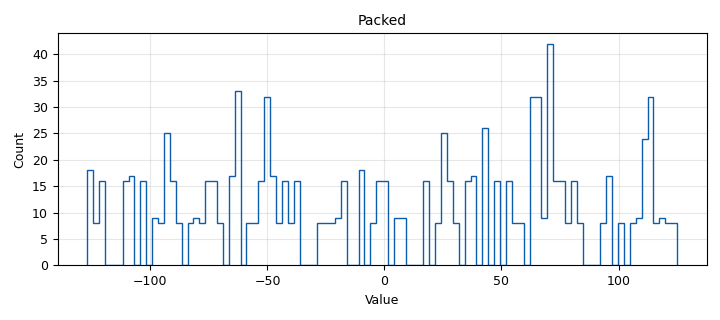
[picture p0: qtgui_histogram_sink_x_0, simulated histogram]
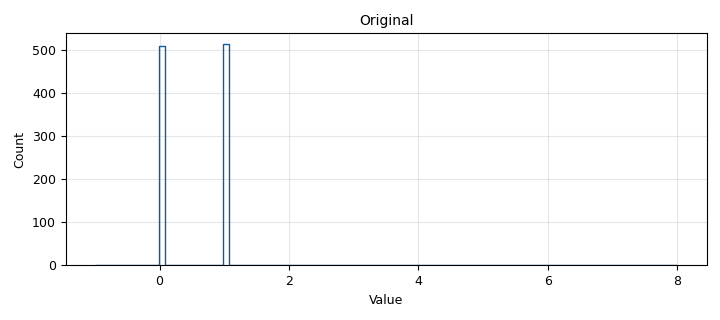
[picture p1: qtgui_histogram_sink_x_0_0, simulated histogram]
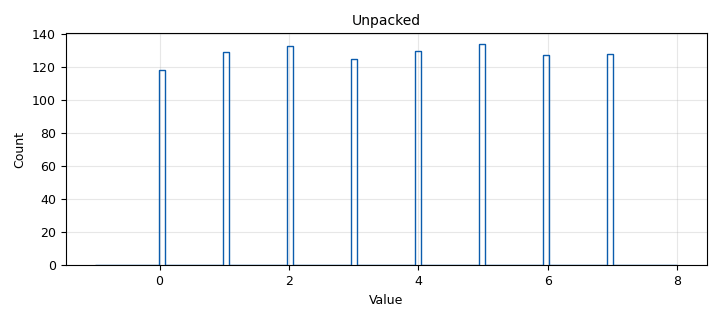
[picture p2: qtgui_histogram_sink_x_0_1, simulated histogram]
options:
  parameters:
    generate_options: qt_gui
    id: Packing
    output_language: python
    title: Not titled yet
  states: {}

blocks:
- name: samp_rate
  id: variable
  parameters:
    value: '32000'
  states: {}
- name: analog_random_source_x_0
  id: analog_random_source_x
  parameters:
    max: '2'
    min: '0'
    num_samps: '1000'
    repeat: 'True'
    type: byte
  states: {}
- name: blocks_char_to_float_0
  id: blocks_char_to_float
  parameters:
    scale: '1'
  states: {}
- name: blocks_char_to_float_0_0
  id: blocks_char_to_float
  parameters:
    scale: '1'
  states: {}
- name: blocks_char_to_float_0_1
  id: blocks_char_to_float
  parameters:
    scale: '1'
  states: {}
- name: blocks_pack_k_bits_bb_0
  id: blocks_pack_k_bits_bb
  parameters:
    k: '8'
  states: {}
- name: blocks_packed_to_unpacked_xx_0
  id: blocks_packed_to_unpacked_xx
  parameters:
    bits_per_chunk: '3'
    endianness: gr.GR_MSB_FIRST
    type: byte
  states: {}
- name: blocks_throttle_0
  id: blocks_throttle
  parameters:
    samples_per_second: samp_rate
    type: byte
  states: {}
- name: qtgui_histogram_sink_x_0
  id: qtgui_histogram_sink_x
  parameters:
    bins: '100'
    name: '"Packed"'
    size: '1024'
    type: float
    xmax: '256'
    xmin: '-1'
  states: {}
- name: qtgui_histogram_sink_x_0_0
  id: qtgui_histogram_sink_x
  parameters:
    bins: '100'
    name: '"Original"'
    size: '1024'
    type: float
    xmax: '8'
    xmin: '-1'
  states: {}
- name: qtgui_histogram_sink_x_0_1
  id: qtgui_histogram_sink_x
  parameters:
    bins: '100'
    name: '"Unpacked"'
    size: '1024'
    type: float
    xmax: '8'
    xmin: '-1'
  states: {}

connections:
- [analog_random_source_x_0, '0', blocks_char_to_float_0_0, '0']
- [analog_random_source_x_0, '0', blocks_pack_k_bits_bb_0, '0']
- [blocks_char_to_float_0, '0', qtgui_histogram_sink_x_0, '0']
- [blocks_char_to_float_0_0, '0', qtgui_histogram_sink_x_0_0, '0']
- [blocks_char_to_float_0_1, '0', qtgui_histogram_sink_x_0_1, '0']
- [blocks_pack_k_bits_bb_0, '0', blocks_throttle_0, '0']
- [blocks_packed_to_unpacked_xx_0, '0', blocks_char_to_float_0_1, '0']
- [blocks_throttle_0, '0', blocks_char_to_float_0, '0']
- [blocks_throttle_0, '0', blocks_packed_to_unpacked_xx_0, '0']

metadata:
  file_format: 1
